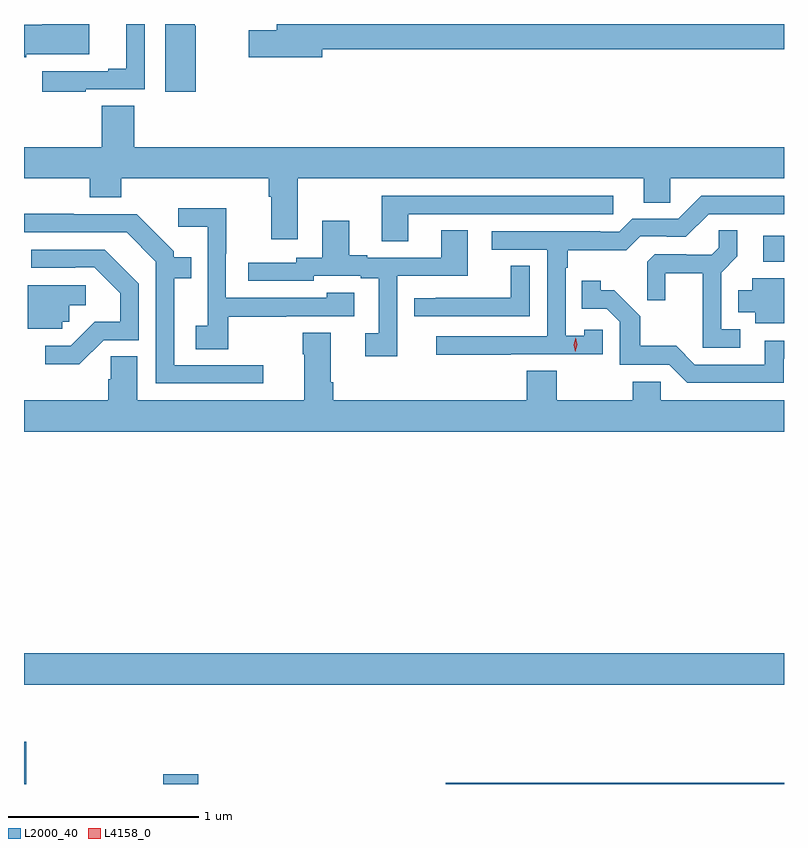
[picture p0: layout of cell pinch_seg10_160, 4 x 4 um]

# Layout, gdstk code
import gdstk
lib = gdstk.Library(unit=1e-6, precision=1e-09)
def R(c, l, rs):  # rectangles x0, y0, x1, y1
    for r in rs: c.add(gdstk.rectangle(r[:2], r[2:], *l))
def P(c, l, *ps):  # polygons
    for p in ps: c.add(gdstk.Polygon(p, *l))
L2000_40 = (2000, 40)
L4158_0 = (4158, 0)

pinch_seg10_160 = lib.new_cell('pinch_seg10_160')
R(pinch_seg10_160, L2000_40, [(674.754,1249.177,674.765,1249.399), (675.488,1249.177,675.671,1249.228), (676.973,1249.177,678.754,1249.184), (674.754,1249.7,678.754,1249.864), (678.645,1251.927,678.754,1252.063)])
P(pinch_seg10_160, L2000_40, [(674.766,1253.018),(675.097,1253.018),(675.097,1253.177),(674.849,1253.177),(674.849,1253.174),(674.754,1253.174),(674.754,1253.002),(674.766,1253.002)],
  [(675.658,1253.169),(675.653,1253.169),(675.653,1253.177),(675.497,1253.177),(675.497,1252.821),(675.658,1252.821)],
  [(675.08,1252.833),(675.39,1252.833),(675.39,1253.177),(675.293,1253.177),(675.293,1252.942),(675.197,1252.942),(675.197,1252.929),(674.85,1252.929),(674.85,1252.821),(675.08,1252.821)],
  [(676.324,1253.044),(678.754,1253.044),(678.754,1253.177),(676.085,1253.177),(676.085,1253.144),(675.936,1253.144),(675.936,1253.002),(676.324,1253.002)],
  [(675.164,1252.748),(675.164,1252.528),(674.754,1252.528),(674.754,1252.364),(675.101,1252.364),(675.101,1252.265),(675.266,1252.265),(675.266,1252.364),(676.043,1252.364),(676.043,1252.268),(676.055,1252.268),(676.055,1252.044),(676.195,1252.044),(676.195,1252.364),(678.017,1252.364),(678.017,1252.237),(678.156,1252.237),(678.156,1252.364),(678.754,1252.364),(678.754,1252.528),(675.335,1252.528),(675.335,1252.748)],
  [(676.777,1252.176),(677.854,1252.176),(677.854,1252.272),(676.637,1252.272),(676.637,1252.033),(676.777,1252.033)],
  [(677.315,1251.438),(677.799,1251.438),(677.799,1251.567),(677.703,1251.567),(677.703,1251.535),(677.604,1251.535),(677.604,1251.893),(677.617,1251.893),(677.617,1251.986),(677.924,1251.986),(677.997,1252.059),(678.136,1252.059),(678.136,1252.056),(678.237,1252.056),(678.357,1252.176),(678.754,1252.176),(678.754,1252.272),(678.318,1252.272),(678.198,1252.152),(677.955,1252.152),(677.886,1252.083),(677.786,1252.083),(677.786,1252.086),(677.217,1252.086),(677.217,1251.99),(677.508,1251.99),(677.508,1251.534),(676.923,1251.534),(676.923,1251.436),(677.315,1251.436)],
  [(675.829,1251.637),(676.133,1251.637),(676.133,1251.639),(676.492,1251.639),(676.492,1251.763),(676.347,1251.763),(676.347,1251.735),(675.816,1251.735),(675.816,1251.968),(675.819,1251.968),(675.819,1252.207),(675.567,1252.207),(675.567,1252.109),(675.72,1252.109),(675.72,1251.588),(675.657,1251.588),(675.657,1251.466),(675.829,1251.466)],
  [(676.012,1251.381),(675.544,1251.381),(675.544,1251.84),(675.635,1251.84),(675.635,1251.949),(675.543,1251.949),(675.543,1251.981),(675.348,1252.176),(675.017,1252.176),(675.017,1252.178),(674.754,1252.178),(674.754,1252.08),(675.294,1252.08),(675.447,1251.927),(675.447,1251.285),(676.012,1251.285)],
  [(676.719,1251.852),(677.089,1251.852),(677.089,1252.091),(676.949,1252.091),(676.949,1251.948),(676.561,1251.948),(676.561,1251.961),(676.465,1251.961),(676.465,1252.141),(676.325,1252.141),(676.325,1251.948),(676.188,1251.948),(676.188,1251.921),(675.933,1251.921),(675.933,1251.825),(676.278,1251.825),(676.278,1251.852),(676.526,1251.852),(676.526,1251.84),(676.622,1251.84),(676.622,1251.549),(676.551,1251.549),(676.551,1251.429),(676.719,1251.429)],
  [(678.523,1251.57),(678.423,1251.57),(678.423,1251.869),(678.509,1251.955),(678.509,1252.091),(678.411,1252.091),(678.411,1252),(678.374,1251.963),(678.24,1251.963),(678.24,1251.966),(678.075,1251.966),(678.034,1251.925),(678.034,1251.723),(678.128,1251.723),(678.128,1251.866),(678.326,1251.866),(678.326,1251.474),(678.523,1251.474)],
  [(675.174,1251.513),(675.357,1251.513),(675.357,1251.811),(675.178,1251.99),(674.793,1251.99),(674.793,1251.894),(675.023,1251.894),(675.023,1251.897),(675.123,1251.897),(675.26,1251.76),(675.26,1251.61),(675.127,1251.61),(675,1251.483),(674.865,1251.483),(674.865,1251.386),(675.046,1251.386)],
  [(677.415,1251.905),(677.317,1251.905),(677.317,1251.735),(676.921,1251.735),(676.921,1251.734),(676.809,1251.734),(676.809,1251.639),(677.415,1251.639)],
  [(678.754,1251.838),(678.587,1251.838),(678.587,1251.775),(678.512,1251.775),(678.512,1251.659),(678.602,1251.659),(678.602,1251.602),(678.754,1251.602)],
  [(678.752,1251.414),(678.754,1251.414),(678.754,1251.51),(678.653,1251.51),(678.653,1251.384),(678.285,1251.384),(678.187,1251.483),(677.998,1251.483),(677.998,1251.638),(677.86,1251.776),(677.79,1251.776),(677.79,1251.826),(677.689,1251.826),(677.689,1251.678),(677.82,1251.678),(677.889,1251.609),(677.889,1251.384),(678.15,1251.384),(678.246,1251.288),(678.752,1251.288)],
  [(674.955,1251.609),(674.991,1251.609),(674.991,1251.698),(675.079,1251.698),(675.079,1251.801),(674.774,1251.801),(674.774,1251.573),(674.955,1251.573)],
  [(678.754,1251.196),(678.105,1251.196),(678.105,1251.294),(677.959,1251.294),(677.959,1251.196),(677.559,1251.196),(677.559,1251.353),(677.399,1251.353),(677.399,1251.196),(676.382,1251.196),(676.382,1251.292),(676.369,1251.292),(676.369,1251.553),(676.222,1251.553),(676.222,1251.44),(676.229,1251.44),(676.229,1251.196),(675.349,1251.196),(675.349,1251.428),(675.211,1251.428),(675.211,1251.306),(675.197,1251.306),(675.197,1251.196),(674.754,1251.196),(674.754,1251.032),(678.754,1251.032)])
P(pinch_seg10_160, L4158_0, [(677.656,1251.453),(677.656,1251.453),(677.647,1251.489),(677.657,1251.525),(677.657,1251.525),(677.657,1251.525),(677.667,1251.489),(677.656,1251.453)])

lib.write_gds('pinch_seg10_160.gds')
